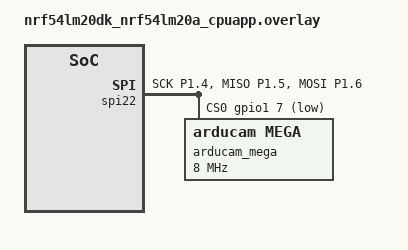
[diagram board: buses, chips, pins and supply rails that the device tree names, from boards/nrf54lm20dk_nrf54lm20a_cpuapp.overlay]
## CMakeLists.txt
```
# Copyright (c) 2026 Nordic Semiconductor
# SPDX-License-Identifier: LicenseRef-Nordic-5-Clause

cmake_minimum_required(VERSION 3.20.0)
find_package(Zephyr REQUIRED HINTS $ENV{ZEPHYR_BASE})
find_package(Python3 REQUIRED)
project(person_recognition)

# OFF = embed demo_picture.jpeg only (less flash). ON = all three demos.
# option(PERSON_RECOGNITION_EMBED_ALL_PICTURES "Embed demo_2 and demo_3 as well as demo_picture" OFF)

set(COMPILED_MODELS_DIR ${CMAKE_CURRENT_SOURCE_DIR}/outputs)
set(MCUNET_HDR ${COMPILED_MODELS_DIR}/nrf_axon_model_mcunet_vww_320kb_.h)
if(NOT EXISTS ${MCUNET_HDR})
  message(FATAL_ERROR
    "Compiled mcunet_vww_320kb model not found:\n  ${MCUNET_HDR}\n"
    "Copy mcunetmcunet-320kb-1mb_vww.tflite to models/, then run the Axon compiler "
    "(see README.md and compiler_mcunet_vww_320kb.yaml).")
endif()

target_include_directories(app PRIVATE ${COMPILED_MODELS_DIR} ${CMAKE_CURRENT_SOURCE_DIR}/src)
zephyr_compile_definitions(NRF_AXON_MODEL_NAME=mcunet_vww_320kb)

# if(PERSON_RECOGNITION_EMBED_ALL_PICTURES)
  set(PERSON_REC_EMBED_IMAGES
    --images demo_picture.jpeg demo_2.jpeg demo_3.jpeg)
# else()
#   set(PERSON_REC_EMBED_IMAGES --images demo_picture.jpeg)
# endif()

set(GEN_TEST_IMAGES_H ${CMAKE_CURRENT_SOURCE_DIR}/src/generated/test_images.h)
add_custom_command(
  OUTPUT ${GEN_TEST_IMAGES_H}
  COMMAND ${CMAKE_COMMAND} -E make_directory ${CMAKE_CURRENT_SOURCE_DIR}/src/generated
  COMMAND ${Python3_EXECUTABLE} ${CMAKE_CURRENT_SOURCE_DIR}/scripts/embed_test_images.py
    --axon-header ${MCUNET_HDR}
    --model-symbol model_mcunet_vww_320kb
    --preprocess symmetric_m1_1
    --pictures-dir ${CMAKE_CURRENT_SOURCE_DIR}/pictures
    ${PERSON_REC_EMBED_IMAGES}
    --out ${CMAKE_CURRENT_SOURCE_DIR}/src/generated/test_images.h
  WORKING_DIRECTORY ${CMAKE_CURRENT_SOURCE_DIR}
  DEPENDS ${MCUNET_HDR}
  COMMENT "Generating test_images.h from Axon header + pictures"
)
add_custom_target(gen_test_images ALL DEPENDS ${GEN_TEST_IMAGES_H})
add_dependencies(app gen_test_images)

target_sources(app PRIVATE src/main.c)
```

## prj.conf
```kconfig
# Copyright (c) 2026 Nordic Semiconductor
# SPDX-License-Identifier: LicenseRef-Nordic-5-Clause

CONFIG_GPIO=y
CONFIG_PRINTK=y
CONFIG_LOG=y
CONFIG_LOG_MODE_IMMEDIATE=y
CONFIG_CBPRINTF_FP_SUPPORT=y

CONFIG_NRF_AXON=y
CONFIG_NRF_AXON_MODEL_NAME="mcunet_vww_320kb"

# Must be > NRF_AXON_MODEL_MCUNET_VWW_320KB_MAX_IL_BUFFER_USED (146892 in current header).
# Oversizing wastes RAM in .bss and can overflow SRAM; keep this tight.
CONFIG_NRF_AXON_INTERLAYER_BUFFER_SIZE=227020
CONFIG_NRF_AXON_PSUM_BUFFER_SIZE=0

CONFIG_MAIN_STACK_SIZE=4096
```

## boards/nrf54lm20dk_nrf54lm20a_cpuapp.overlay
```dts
/*
 * Copyright (c) 2026 Nordic Semiconductor ASA
 * SPDX-License-Identifier: LicenseRef-Nordic-5-Clause
 *
 * Arducam Mega on SPI22 (same wiring as sdk-edge-ai fomo branch).
 *
 * nRF54LM20A SoC DTS does not define the Axon node; use nRF54LM20B + axon overlay for inference.
 */

&pinctrl {
	spi22_default: spi22_default {
		group1 {
			psels = <NRF_PSEL(SPIM_SCK, 1, 4)>,
				<NRF_PSEL(SPIM_MISO, 1, 5)>,
				<NRF_PSEL(SPIM_MOSI, 1, 6)>;
			bias-pull-down;
		};
	};

	spi22_sleep: spi22_sleep {
		group1 {
			psels = <NRF_PSEL(SPIM_SCK, 1, 4)>,
				<NRF_PSEL(SPIM_MISO, 1, 5)>,
				<NRF_PSEL(SPIM_MOSI, 1, 6)>;
			bias-pull-down;
			low-power-enable;
		};
	};
};

&spi22 {
	compatible = "nordic,nrf-spim";
	status = "okay";
	pinctrl-0 = <&spi22_default>;
	pinctrl-1 = <&spi22_sleep>;
	pinctrl-names = "default", "sleep";
	overrun-character = <0x00>;
	zephyr,pm-device-runtime-auto;
	cs-gpios = <&gpio1 7 GPIO_ACTIVE_LOW>;

	arducam_mega: arducam-mega@0 {
		compatible = "arducam,mega";
		reg = <0>;
		spi-max-frequency = <8000000>;
		status = "okay";
	};
};
```

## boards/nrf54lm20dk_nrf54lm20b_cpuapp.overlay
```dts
/*
 * Copyright (c) 2026 Nordic Semiconductor ASA
 * SPDX-License-Identifier: LicenseRef-Nordic-5-Clause
 */

&axon {
	status = "okay";
};
```

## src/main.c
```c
/*
 * Copyright (c) 2026 Nordic Semiconductor ASA
 * SPDX-License-Identifier: LicenseRef-Nordic-5-Clause
 *
 * Person detection (nRF54L Axon): person_det with Arducam Mega @ 128x128 RGB565.
 * Same camera path as mcunet_vww_320kb (video_set_format, 1024-byte buffers, chunked capture).
 * Model canvas 160x128: 128x128 image centered horizontally; border uses neutral gray (sym -1..1 → 0).
 */

#include <zephyr/kernel.h>
#include <zephyr/device.h>
#include <zephyr/drivers/gpio.h>
#include <zephyr/drivers/video.h>
#include <zephyr/logging/log.h>

#include <stdint.h>

#include <zephyr/sys/atomic.h>

#include <drivers/axon/nrf_axon_driver.h>
#include <drivers/axon/nrf_axon_nn_infer.h>
#include <axon/nrf_axon_platform.h>

#include "nrf_axon_model_person_det_.h"
#include "person_det_postprocess.h"

LOG_MODULE_REGISTER(person_recognition);

#define PACKED_OUTPUT_BYTES NRF_AXON_MODEL_PERSON_DET_PACKED_OUTPUT_SIZE

#define CAM_W 128
#define CAM_H 128
#define MODEL_W 160
#define MODEL_H 128
#define PAD_LEFT (((MODEL_W) - (CAM_W)) / 2)
#define PAD_TOP  (((MODEL_H) - (CAM_H)) / 2)

BUILD_ASSERT(MODEL_W == 160 && MODEL_H == 128, "person_det input canvas");
BUILD_ASSERT(PAD_LEFT + CAM_W + PAD_LEFT == MODEL_W, "horizontal pad");
BUILD_ASSERT(PAD_TOP + CAM_H + PAD_TOP == MODEL_H, "vertical pad");

#define FRAME_RGB565_BYTES ((CAM_W) * (CAM_H) * 2)

#define MAX_BOXES_LOG 8

static int8_t output_buf[PACKED_OUTPUT_BYTES];
static int8_t input_buf[MODEL_W * MODEL_H * 3];
static uint8_t frame_rgb565[FRAME_RGB565_BYTES];

static const struct gpio_dt_spec led_capture = GPIO_DT_SPEC_GET(DT_ALIAS(led0), gpios);
static const struct gpio_dt_spec led_person = GPIO_DT_SPEC_GET(DT_ALIAS(led1), gpios);

static atomic_t capture_led_active;

static void capture_led_timer_fn(struct k_timer *timer)
{
	ARG_UNUSED(timer);

	if (atomic_get(&capture_led_active)) {
		(void)gpio_pin_toggle_dt(&led_capture);
	}
}

K_TIMER_DEFINE(capture_led_timer, capture_led_timer_fn, NULL);

static int8_t quantize_sym(float sym_m1_1, uint32_t quant_mult, uint8_t quant_round, int8_t quant_zp)
{
	double v = (double)sym_m1_1 * (double)quant_mult;
	int64_t qi = (int64_t)v;

	qi >>= quant_round;
	qi += quant_zp;
	if (qi < -128) {
		return -128;
	}
	if (qi > 127) {
		return 127;
	}
	return (int8_t)qi;
}

static inline uint16_t rgb565_read_be(const uint8_t *p)
{
	return (uint16_t)((uint16_t)p[0] << 8 | p[1]);
}

static inline float rgb565_channel_to_01(uint16_t pix, unsigned c)
{
	unsigned r5 = (pix >> 11) & 0x1f;
	unsigned g6 = (pix >> 5) & 0x3f;
	unsigned b5 = pix & 0x1f;
	unsigned r8 = (r5 << 3) | (r5 >> 2);
	unsigned g8 = (g6 << 2) | (g6 >> 4);
	unsigned b8 = (b5 << 3) | (b5 >> 2);

	if (c == 0) {
		return (float)r8 / 255.f;
	}
	if (c == 1) {
		return (float)g8 / 255.f;
	}
	return (float)b8 / 255.f;
}

static void build_model_input_from_frame(const uint8_t *rgb565, const nrf_axon_nn_compiled_model_s *model)
{
	const nrf_axon_nn_compiled_model_input_s *in = &model->inputs[model->external_input_ndx];
	const uint32_t qm = in->quant_mult;
	const uint8_t qr = in->quant_round;
	const int8_t qz = in->quant_zp;

	for (unsigned c = 0; c < 3; c++) {
		for (unsigned y = 0; y < MODEL_H; y++) {
			for (unsigned x = 0; x < MODEL_W; x++) {
				float ch01;

				if (x >= PAD_LEFT && x < PAD_LEFT + CAM_W && y >= PAD_TOP &&
				    y < PAD_TOP + CAM_H) {
					unsigned sx = x - PAD_LEFT;
					unsigned sy = y - PAD_TOP;
					uint16_t pix = rgb565_read_be(&rgb565[(sy * CAM_W + sx) * 2]);

					ch01 = rgb565_channel_to_01(pix, c);
				} else {
					ch01 = 0.5f;
				}

				float sym = ch01 * 2.f - 1.f;
				unsigned plane = c * MODEL_W * MODEL_H;
				unsigned idx = plane + y * MODEL_W + x;

				input_buf[idx] = quantize_sym(sym, qm, qr, qz);
			}
		}
	}
}

static int capture_one_frame(const struct device *video)
{
	size_t total = 0;

	while (total < FRAME_RGB565_BYTES) {
		struct video_buffer *vbuf;
		int err = video_dequeue(video, &vbuf, K_FOREVER);

		if (err != 0) {
			LOG_ERR("video_dequeue failed: %d", err);
			return err;
		}

		size_t room = FRAME_RGB565_BYTES - total;
		size_t chunk = vbuf->bytesused < room ? vbuf->bytesused : room;

		memcpy(frame_rgb565 + total, vbuf->buffer, chunk);
		total += chunk;

		vbuf->type = VIDEO_BUF_TYPE_OUTPUT;
		video_enqueue(video, vbuf);
	}

	return 0;
}

int main(void)
{
	nrf_axon_result_e result;
	const nrf_axon_nn_compiled_model_s *model = &model_person_det;
	const struct device *video = DEVICE_DT_GET(DT_NODELABEL(arducam_mega));
	struct video_buffer *vbufs[2];
	struct video_format fmt = {.pixelformat = VIDEO_PIX_FMT_RGB565,
				   .width = CAM_W,
				   .height = CAM_H,
				   .pitch = CAM_W * 2};

	struct person_det_box boxes[MAX_BOXES_LOG];
	const float score_thresh = 0.25f;
	const float nms_iou = 0.45f;

	if (!gpio_is_ready_dt(&led_capture) || !gpio_is_ready_dt(&led_person)) {
		LOG_ERR("LED GPIO not ready");
		return -1;
	}
	(void)gpio_pin_configure_dt(&led_capture, GPIO_OUTPUT_INACTIVE);
	(void)gpio_pin_configure_dt(&led_person, GPIO_OUTPUT_INACTIVE);

	if (!device_is_ready(video)) {
		LOG_ERR("Video device not ready");
		return -1;
	}

	if (video_set_format(video, &fmt) != 0) {
		LOG_ERR("video_set_format failed");
		return -1;
	}

	for (size_t i = 0; i < ARRAY_SIZE(vbufs); i++) {
		vbufs[i] = video_buffer_alloc(1024, K_FOREVER);
		if (vbufs[i] == NULL) {
			LOG_ERR("video_buffer_alloc failed");
			return -1;
		}
		vbufs[i]->type = VIDEO_BUF_TYPE_OUTPUT;
		video_enqueue(video, vbufs[i]);
	}

	LOG_INF("Person detection (camera %dx%d -> model %dx%d)", CAM_W, CAM_H, MODEL_W, MODEL_H);

	result = nrf_axon_platform_init();
	if (result != NRF_AXON_RESULT_SUCCESS) {
		LOG_ERR("Axon platform init failed: %d", result);
		return -1;
	}

	result = nrf_axon_nn_model_validate(model);
	if (result != NRF_AXON_RESULT_SUCCESS) {
		LOG_ERR("Model validation failed: %d", result);
		return -1;
	}

	if (nrf_axon_nn_model_init_vars(model) != 0) {
		LOG_ERR("Model init_vars failed");
		return -1;
	}

	while (true) {
		atomic_set(&capture_led_active, 1);
		k_timer_start(&capture_led_timer, K_NO_WAIT, K_MSEC(55));

		if (video_stream_start(video, VIDEO_BUF_TYPE_OUTPUT) != 0) {
			LOG_ERR("video_stream_start failed");
			atomic_set(&capture_led_active, 0);
			k_timer_stop(&capture_led_timer);
			gpio_pin_set_dt(&led_capture, 0);
			k_msleep(500);
			continue;
		}

		if (capture_one_frame(video) != 0) {
			(void)video_stream_stop(video, VIDEO_BUF_TYPE_OUTPUT);
			atomic_set(&capture_led_active, 0);
			k_timer_stop(&capture_led_timer);
			gpio_pin_set_dt(&led_capture, 0);
			k_msleep(500);
			continue;
		}

		(void)video_stream_stop(video, VIDEO_BUF_TYPE_OUTPUT);

		atomic_set(&capture_led_active, 0);
		k_timer_stop(&capture_led_timer);
		gpio_pin_set_dt(&led_capture, 0);

		build_model_input_from_frame(frame_rgb565, model);

		result = nrf_axon_nn_model_infer_sync(model, input_buf, output_buf);
		if (result != NRF_AXON_RESULT_SUCCESS) {
			LOG_ERR("inference failed: %d", result);
			gpio_pin_set_dt(&led_person, 0);
			k_msleep(300);
			continue;
		}

		int n = person_det_decode_and_nms(model, boxes, MAX_BOXES_LOG, score_thresh, nms_iou);

		if (n > 0) {
			for (int i = 0; i < n; i++) {
				LOG_INF(
					"person box %d: head %s [%.1f, %.1f, %.1f, %.1f] score %.3f",
					i, person_det_head_name(boxes[i].head),
					(double)boxes[i].x1, (double)boxes[i].y1, (double)boxes[i].x2,
					(double)boxes[i].y2, (double)boxes[i].score);
			}
			gpio_pin_toggle_dt(&led_person);
		} else {
			gpio_pin_set_dt(&led_person, 0);
		}

		k_msleep(280);
	}

	return 0;
}
```

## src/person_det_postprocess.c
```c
/*
 * Copyright (c) 2026 Nordic Semiconductor ASA
 * SPDX-License-Identifier: LicenseRef-Nordic-5-Clause
 */

#include "person_det_postprocess.h"

#include <math.h>
#include <stdbool.h>
#include <stdlib.h>
#include <string.h>

#define NUM_ANCHORS    3
#define PRED_PER_ANCH  6
#define MAX_CANDIDATES 400

static const float k_anchors_stride32[6] = {116.f, 90.f, 156.f, 198.f, 373.f, 326.f};
static const float k_anchors_stride16[6] = {30.f, 61.f, 62.f, 45.f, 59.f, 119.f};
static const float k_anchors_stride8[6] = {10.f, 13.f, 16.f, 30.f, 33.f, 23.f};

const char *person_det_head_name(enum person_det_head head)
{
	switch (head) {
	case PERSON_DET_HEAD_STRIDE_32:
		return "s32";
	case PERSON_DET_HEAD_STRIDE_16:
		return "s16";
	case PERSON_DET_HEAD_STRIDE_8:
		return "s8";
	default:
		return "?";
	}
}

static float dequant(int8_t q, uint32_t mult, uint8_t round, int8_t zp)
{
	return (float)((int)q - (int)zp) * (float)mult / (float)(1U << round);
}

static float sigmoid(float x)
{
	if (x >= 0.f) {
		float z = expf(-x);

		return 1.f / (1.f + z);
	}
	float z = expf(x);

	return z / (1.f + z);
}

static int8_t read_ch(const int8_t *base, uint16_t h, uint16_t row_stride, uint16_t c, uint16_t y,
		      uint16_t x)
{
	return base[(size_t)c * (size_t)h * (size_t)row_stride + (size_t)y * (size_t)row_stride +
		    (size_t)x];
}

static void decode_scale(const int8_t *base, uint16_t fh, uint16_t fw, uint16_t row_stride,
			 uint32_t dqm, uint8_t dqr, int8_t dqz, int stride_px, const float *anchors,
			 float in_w, float in_h, struct person_det_box *cand, int *ncand,
			 float score_thresh, enum person_det_head head_id)
{
	for (unsigned y = 0; y < fh; y++) {
		for (unsigned x = 0; x < fw; x++) {
			for (int a = 0; a < NUM_ANCHORS; a++) {
				int o = a * PRED_PER_ANCH;
				float rcx = dequant(read_ch(base, fh, row_stride, (uint16_t)(o + 0), y, x),
						    dqm, dqr, dqz);
				float rcy = dequant(read_ch(base, fh, row_stride, (uint16_t)(o + 1), y, x),
						    dqm, dqr, dqz);
				float rw = dequant(read_ch(base, fh, row_stride, (uint16_t)(o + 2), y, x),
						   dqm, dqr, dqz);
				float rh = dequant(read_ch(base, fh, row_stride, (uint16_t)(o + 3), y, x),
						   dqm, dqr, dqz);
				float robj = dequant(read_ch(base, fh, row_stride, (uint16_t)(o + 4), y, x),
						     dqm, dqr, dqz);
				float rcls = dequant(read_ch(base, fh, row_stride, (uint16_t)(o + 5), y, x),
						     dqm, dqr, dqz);

				float cx = (sigmoid(rcx) + (float)x) * (float)stride_px;
				float cy = (sigmoid(rcy) + (float)y) * (float)stride_px;

				rw = fminf(rw, 10.f);
				rh = fminf(rh, 10.f);
				float bw = expf(rw) * anchors[a * 2 + 0];
				float bh = expf(rh) * anchors[a * 2 + 1];

				float hw = bw * 0.5f;
				float hh = bh * 0.5f;

				float conf = sigmoid(robj) * sigmoid(rcls);
				if (conf < score_thresh || *ncand >= MAX_CANDIDATES) {
					continue;
				}

				float x1 = cx - hw;
				float y1 = cy - hh;
				float x2 = cx + hw;
				float y2 = cy + hh;

				if (x1 < 0.f) {
					x1 = 0.f;
				}
				if (y1 < 0.f) {
					y1 = 0.f;
				}
				if (x2 > in_w) {
					x2 = in_w;
				}
				if (y2 > in_h) {
					y2 = in_h;
				}
				if (x2 <= x1 || y2 <= y1) {
					continue;
				}

				cand[*ncand].x1 = x1;
				cand[*ncand].y1 = y1;
				cand[*ncand].x2 = x2;
				cand[*ncand].y2 = y2;
				cand[*ncand].score = conf;
				cand[*ncand].head = head_id;
				(*ncand)++;
			}
		}
	}
}

static float bbox_iou(const struct person_det_box *a, const struct person_det_box *b)
{
	float xx1 = fmaxf(a->x1, b->x1);
	float yy1 = fmaxf(a->y1, b->y1);
	float xx2 = fminf(a->x2, b->x2);
	float yy2 = fminf(a->y2, b->y2);
	float w = fmaxf(0.f, xx2 - xx1);
	float h = fmaxf(0.f, yy2 - yy1);
	float inter = w * h;
	float area_a = (a->x2 - a->x1) * (a->y2 - a->y1);
	float area_b = (b->x2 - b->x1) * (b->y2 - b->y1);

	return inter / (area_a + area_b - inter + 1e-6f);
}

static int cmp_score_desc(const void *va, const void *vb)
{
	const struct person_det_box *a = va;
	const struct person_det_box *b = vb;

	if (a->score > b->score) {
		return -1;
	}
	if (a->score < b->score) {
		return 1;
	}
	return 0;
}

static int nms(struct person_det_box *dets, int n, struct person_det_box *out, int max_out,
	       float iou_thres)
{
	if (n <= 0) {
		return 0;
	}

	qsort(dets, (size_t)n, sizeof(dets[0]), cmp_score_desc);

	int kept = 0;

	for (int i = 0; i < n && kept < max_out; i++) {
		bool take = true;

		for (int j = 0; j < kept; j++) {
			if (bbox_iou(&dets[i], &out[j]) > iou_thres) {
				take = false;
				break;
			}
		}
		if (take) {
			out[kept++] = dets[i];
		}
	}

	return kept;
}

int person_det_decode_and_nms(const nrf_axon_nn_compiled_model_s *model, struct person_det_box *out,
			      int max_out, float score_thresh, float nms_iou)
{
	struct person_det_box cand[MAX_CANDIDATES];
	int ncand = 0;

	const nrf_axon_nn_model_layer_dimensions_s *idim = &model->inputs[model->external_input_ndx].dimensions;
	float in_w = (float)idim->width;
	float in_h = (float)idim->height;

	/* Same tensor order as run_det_camera.py: stride 32, 16, 8 (see build_det_helper). */
	if (model->extra_output_cnt >= 2) {
		const nrf_axon_compiled_model_output_s *e1 = &model->extra_outputs[1];

		decode_scale(e1->ptr, e1->dimensions.height, e1->dimensions.width, e1->stride,
			     e1->dequant_mult, e1->dequant_round, e1->dequant_zp, 32,
			     k_anchors_stride32, in_w, in_h, cand, &ncand, score_thresh,
			     PERSON_DET_HEAD_STRIDE_32);
	}

	if (model->extra_output_cnt >= 1) {
		const nrf_axon_compiled_model_output_s *e0 = &model->extra_outputs[0];

		decode_scale(e0->ptr, e0->dimensions.height, e0->dimensions.width, e0->stride,
			     e0->dequant_mult, e0->dequant_round, e0->dequant_zp, 16,
			     k_anchors_stride16, in_w, in_h, cand, &ncand, score_thresh,
			     PERSON_DET_HEAD_STRIDE_16);
	}

	decode_scale(model->output_ptr, model->output_dimensions.height, model->output_dimensions.width,
		     model->output_stride, model->output_dequant_mult, model->output_dequant_round,
		     model->output_dequant_zp, 8, k_anchors_stride8, in_w, in_h, cand, &ncand,
		     score_thresh, PERSON_DET_HEAD_STRIDE_8);

	return nms(cand, ncand, out, max_out, nms_iou);
}
```

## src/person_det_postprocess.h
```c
/*
 * Copyright (c) 2026 Nordic Semiconductor ASA
 * SPDX-License-Identifier: LicenseRef-Nordic-5-Clause
 *
 * YOLOv3-style decode + greedy NMS for MCUNet person_det Axon model (matches
 * mcunet/utils/det_helper.py + run_det_camera.py).
 */

#pragma once

#include <drivers/axon/nrf_axon_nn_infer.h>
#include <stdint.h>

/** Which detection head produced the box (decode order matches tensor order). */
enum person_det_head {
	PERSON_DET_HEAD_STRIDE_32 = 0, /**< extra_outputs[1], coarse grid */
	PERSON_DET_HEAD_STRIDE_16 = 1, /**< extra_outputs[0] */
	PERSON_DET_HEAD_STRIDE_8 = 2,  /**< main output, finest grid */
};

struct person_det_box {
	float x1, y1, x2, y2;
	float score;
	enum person_det_head head;
};

/** Short label for logs (e.g. "s32", "s16", "s8"). */
const char *person_det_head_name(enum person_det_head head);

/**
 * Decode all three detection heads and run NMS. Uses raw output pointers inside
 * @p model (valid immediately after nrf_axon_nn_model_infer_sync()).
 *
 * @param score_thresh  minimum class score (after sigmoid), e.g. 0.25f
 * @param nms_iou       IoU threshold for suppression, e.g. 0.45f
 * @return number of boxes written to @p out (at most @p max_out)
 */
int person_det_decode_and_nms(const nrf_axon_nn_compiled_model_s *model, struct person_det_box *out,
				int max_out, float score_thresh, float nms_iou);
```
